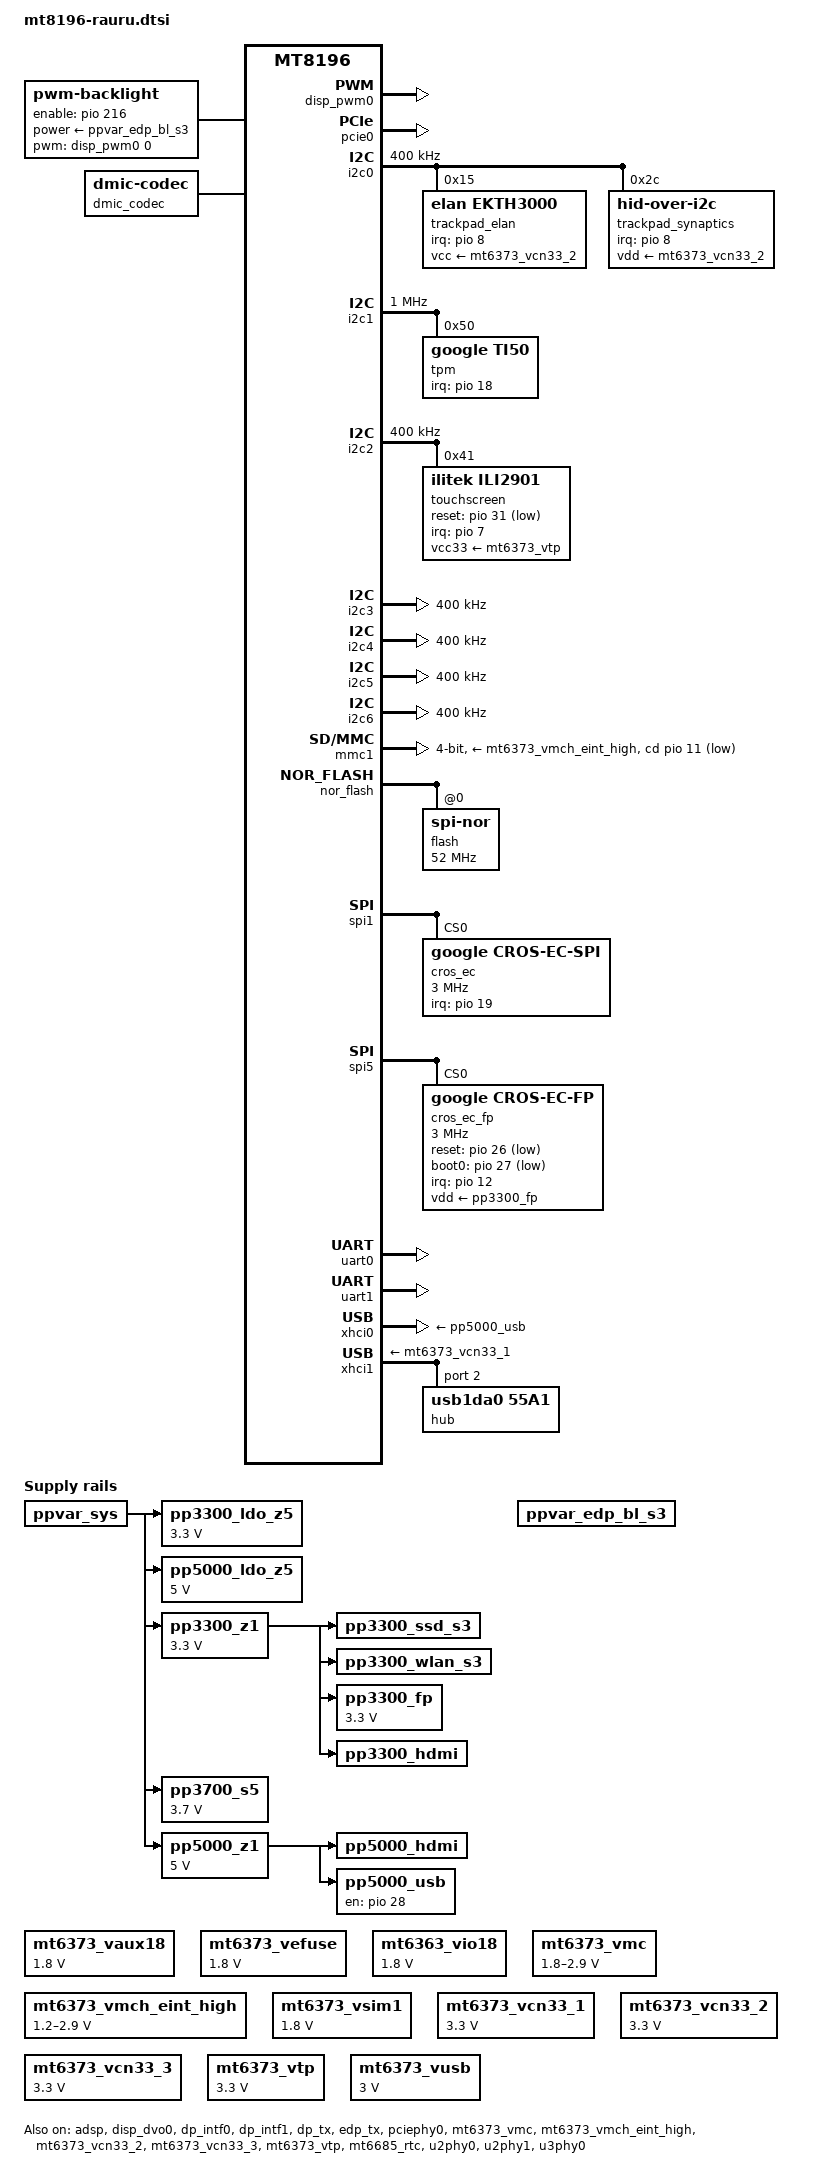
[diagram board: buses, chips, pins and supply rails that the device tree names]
// SPDX-License-Identifier: (GPL-2.0 OR MIT)
/*
 * Copyright (C) 2024 Google Inc.
 */
/dts-v1/;
#include "mt8196.dtsi"
#include "mt6316.dtsi"
#include "mt6363.dtsi"
#include "mt6373.dtsi"
#include "mt6685.dtsi"
#include <dt-bindings/pinctrl/mt8196-pinfunc.h>
#include <dt-bindings/gpio/gpio.h>
#include <dt-bindings/input/input.h>
#include <dt-bindings/input/gpio-keys.h>

/ {
	chosen: chosen {
		stdout-path = "serial0:115200n8";
	};

	backlight: backlight {
		compatible = "pwm-backlight";
		pinctrl-names = "default";
		pinctrl-0 = <&backlight_en_pin>;
		pwms = <&disp_pwm0 0 500000>;
		power-supply = <&ppvar_edp_bl_s3>;
		enable-gpios = <&pio 216 GPIO_ACTIVE_HIGH>;
		brightness-levels = <0 1023>;
		num-interpolated-steps = <1023>;
		default-brightness-level = <576>;
	};

	dmic_codec: dmic-codec {
		compatible = "dmic-codec";
		#sound-dai-cells = <0>;
		num-channels = <2>;
		wakeup-delay-ms = <100>;
	};

	/* system wide LDO 3.3V power rail */
	pp3300_ldo_z5: regulator-pp3300-ldo-z5 {
		compatible = "regulator-fixed";
		regulator-name = "pp3300_ldo_z5";
		regulator-always-on;
		regulator-boot-on;
		regulator-min-microvolt = <3300000>;
		regulator-max-microvolt = <3300000>;
		vin-supply = <&ppvar_sys>;
	};

	/* system wide LDO 5.0V power rail */
	pp5000_ldo_z5: regulator-pp5000-ldo-z5 {
		compatible = "regulator-fixed";
		regulator-name = "pp5000_ldo_z5";
		regulator-always-on;
		regulator-boot-on;
		regulator-min-microvolt = <5000000>;
		regulator-max-microvolt = <5000000>;
		vin-supply = <&ppvar_sys>;
	};

	/* separately switched 3.3V power rail */
	pp3300_ssd_s3: regulator-pp3300-ssd-s3 {
		compatible = "regulator-fixed";
		regulator-name = "pp3300_ssd_s3";
		/* automatically sequenced by PMIC EXT_PMIC_EN2_3V7 */
		regulator-always-on;
		regulator-boot-on;
		vin-supply = <&pp3300_z1>;
	};

	/* separately switched 3.3V power rail */
	pp3300_wlan_s3: regulator-pp3300-wlan-s3 {
		compatible = "regulator-fixed";
		regulator-name = "pp3300_wlan_s3";
		/* automatically sequenced by PMIC EXT_PMIC_EN2_3V7 */
		regulator-always-on;
		regulator-boot-on;
		vin-supply = <&pp3300_z1>;
	};

	/* separately switched 3.3V power rail */
	pp3300_fp: regulator-pp3300-fp {
		compatible = "regulator-fixed";
		regulator-name = "pp3300_fp";
		regulator-always-on;
		regulator-boot-on;
		regulator-min-microvolt = <3300000>;
		regulator-max-microvolt = <3300000>;
		pinctrl-names = "default";
		pinctrl-0 = <&fp_pwr_pin>;
		vin-supply = <&pp3300_z1>;
	};

	/* separately switched 3.3V power rail */
	pp3300_hdmi: regulator-pp3300-hdmi {
		compatible = "regulator-fixed";
		regulator-name = "pp3300_hdmi";
		/* EN_HDMI_PWR controlled by EC */
		regulator-always-on;
		regulator-boot-on;
		vin-supply = <&pp3300_z1>;
	};

	/* system wide 3.3V power rail */
	pp3300_z1: regulator-pp3300-z1 {
		compatible = "regulator-fixed";
		regulator-name = "pp3300_z1";
		/* controlled by EC */
		regulator-always-on;
		regulator-boot-on;
		regulator-min-microvolt = <3300000>;
		regulator-max-microvolt = <3300000>;
		vin-supply = <&ppvar_sys>;
	};

	/* system wide 3.7V power rail */
	pp3700_s5: regulator-pp3700-s5 {
		compatible = "regulator-fixed";
		regulator-name = "pp3700_s5";
		/* EN_PP3700_S5 controlled by EC */
		regulator-always-on;
		regulator-boot-on;
		regulator-min-microvolt = <3700000>;
		regulator-max-microvolt = <3700000>;
		vin-supply = <&ppvar_sys>;
	};

	/* system wide 5.0V power rail */
	pp5000_z1: regulator-pp5000-z1 {
		compatible = "regulator-fixed";
		regulator-name = "pp5000_z1";
		/* EN_PP5000_Z1 controlled by EC */
		regulator-always-on;
		regulator-boot-on;
		regulator-min-microvolt = <5000000>;
		regulator-max-microvolt = <5000000>;
		vin-supply = <&ppvar_sys>;
	};

	/* separately switched 5.0V power rail */
	pp5000_hdmi: regulator-pp5000-hdmi {
		compatible = "regulator-fixed";
		regulator-name = "pp5000_hdmi";
		/* EN_HDMI_PWR controlled by EC */
		regulator-always-on;
		regulator-boot-on;
		vin-supply = <&pp5000_z1>;
	};

	/* separately switched 5.0V power rail */
	pp5000_usb: regulator-pp5000-usb {
		compatible = "regulator-fixed";
		regulator-name = "pp5000_usb";
		regulator-always-on;
		regulator-boot-on;
		enable-active-high;
		gpio = <&pio 28 GPIO_ACTIVE_HIGH>;
		pinctrl-names = "default";
		pinctrl-0 = <&usb_init_done_pins>;
		vin-supply = <&pp5000_z1>;
	};

	/* system wide semi-regulated power rail from battery or USB */
	ppvar_edp_bl_s3:
	ppvar_sys: regulator-ppvar-sys {
		compatible = "regulator-fixed";
		regulator-name = "ppvar_sys";
		regulator-always-on;
		regulator-boot-on;
	};

	nau8318: speaker-codec {
		compatible = "nuvoton,nau8318";
		enable-gpios = <&pio 174 0>;/* EN_SPKR */
		beep-enable-gpios = <&pio 175 0>;/* BEEP_ON */
		#sound-dai-cells = <0>;

		status = "disabled";
	};

};

&adsp {
	memory-region = <&adsp_dma_mem_reserved>,
			<&adsp_mem_reserved>;
	pinctrl-names = "default";
	status = "okay";
};

&afe {
	memory-region = <&afe_dma_mem_reserved>;
	status = "disabled";
};

&cpu0 {
	proc-supply = <&mt6316_8_vbuck3>;
};

&cpu1 {
	proc-supply = <&mt6316_8_vbuck3>;
};

&cpu2 {
	proc-supply = <&mt6316_8_vbuck3>;
};

&cpu3 {
	proc-supply = <&mt6316_8_vbuck3>;
};

&cpu4 {
	proc-supply = <&mt6316_6_vbuck1>;
};

&cpu5 {
	proc-supply = <&mt6316_6_vbuck1>;
};

&cpu6 {
	proc-supply = <&mt6316_6_vbuck1>;
};

&cpu7 {
	proc-supply = <&mt6316_15_vbuck1>;
};

&disp_dvo0 {
	status = "okay";

	ports {
		port {
			disp_dvo0_out: endpoint {
				remote-endpoint = <&edp_in>;
			};
		};
	};
};

&disp_pwm0 {
	pinctrl-names = "default";
	pinctrl-0 = <&pwm_pin>;

	status = "okay";
};

&dp_intf0 {
	status = "okay";

	ports {
		#address-cells = <1>;
		#size-cells = <0>;

		port@0 {
			reg = <0>;
			disp1_dp_intf0_out: endpoint {
				remote-endpoint = <&dptx_in0>;
			};
		};
	};
};

&dp_intf1 {
	status = "okay";

	ports {
		#address-cells = <1>;
		#size-cells = <0>;

		port@0 {
			reg = <0>;
			disp1_dp_intf1_out: endpoint {
				remote-endpoint = <&dptx_in1>;
			};
		};
	};
};

&dp_tx {
	#sound-dai-cells = <0>;
	pinctrl-names = "default";
	pinctrl-0 = <&dp_hpd_pin>;
	direct-dp;

	status = "okay";

	ports {
		#address-cells = <1>;
		#size-cells = <0>;

		port@0 {
			reg = <0>;
			dptx_in0: endpoint {
				remote-endpoint = <&disp1_dp_intf0_out>;
			};
		};

		port@1 {
			reg = <1>;
			dptx_in1: endpoint {
				remote-endpoint = <&disp1_dp_intf1_out>;
			};
		};

		port@2 {
			reg = <2>;
			dptx_out: endpoint {
				data-lanes = <0 1 2 3>;
			};
		};
	};
};

&edp_tx {
	pinctrl-names = "default";
	pinctrl-0 = <&edp_hpd_pin>;

	status = "okay";

	ports {
		#address-cells = <1>;
		#size-cells = <0>;

		port@0 {
			reg = <0>;
			edp_in: endpoint {
				remote-endpoint = <&disp_dvo0_out>;
			};
		};

		port@1 {
			reg = <1>;
			edp_out: endpoint {
				data-lanes = <0 1 2 3>;
				remote-endpoint = <&edp_panel_in>;
			};
		};
	};

	aux-bus {
		panel: panel {
			compatible = "edp-panel";
			power-supply = <&mt6373_vcn33_3>;
			backlight = <&backlight>;

			status = "okay";

			port {
				edp_panel_in: endpoint {
					remote-endpoint = <&edp_out>;
				};
			};
		};
	};
};

&pcie0 {
	pinctrl-names = "default";
	pinctrl-0 = <&pcie0_pins>;
	status = "okay";
};

&pcie1 {
	pinctrl-names = "default";
	pinctrl-0 = <&pcie1_pins>;
	/* pcie1 for SSD is reserved but unused. */
	status = "disabled";
};

&pciephy0 {
	status = "okay";
};

&mt6373_vaux18 {
	regulator-name = "avss18_auxadc_mt6373";
	regulator-min-microvolt = <1800000>;
	regulator-max-microvolt = <1800000>;
};

&mt6373_vefuse {
	regulator-name = "pp1800_vefuse";
	regulator-min-microvolt = <1800000>;
	regulator-max-microvolt = <1800000>;
};

&mt6363_vio18 {
	regulator-name = "pp1800_vio18_s3";
	regulator-min-microvolt = <1800000>;
	regulator-max-microvolt = <1800000>;
};

&mt6373_vmc {
	regulator-name = "pp1800_2900_vmc";
	regulator-min-microvolt = <1800000>;
	regulator-max-microvolt = <2900000>;

	status = "okay";
};

&mt6373_vmch_eint_high {
	regulator-name = "pp2900_sd";
	/* TODO: Confirm with HW */
	regulator-min-microvolt = <1200000>;
	regulator-max-microvolt = <2900000>;

	status = "okay";
};

&mt6373_vsim1 {
	regulator-name = "pp1800_tchscr";
	regulator-min-microvolt = <1800000>;
	regulator-max-microvolt = <1800000>;
};

&mt6373_vcn33_1 {
	regulator-name = "pp3300_ucam";
	regulator-min-microvolt = <3300000>;
	regulator-max-microvolt = <3300000>;
};

&mt6373_vcn33_2 {
	regulator-name = "pp3300_tchpad";
	regulator-min-microvolt = <3300000>;
	regulator-max-microvolt = <3300000>;

	/* HACK: b/333996526 */
	regulator-always-on;

	status = "okay";
};

&mt6373_vcn33_3 {
	regulator-name = "pp3300_edp";
	regulator-min-microvolt = <3300000>;
	regulator-max-microvolt = <3300000>;

	regulator-always-on;

	status = "okay";
};

&mt6373_vtp {
	regulator-name = "pp3300_tchscr";
	regulator-min-microvolt = <3300000>;
	regulator-max-microvolt = <3300000>;

	status = "okay";
};

&mt6373_vusb {
	regulator-name = "pp3070_vusb";
	regulator-min-microvolt = <3000000>;
	regulator-max-microvolt = <3000000>;
};

/* trackpad */
&i2c0 {
	clock-frequency = <400000>;
	pinctrl-names = "default";
	pinctrl-0 = <&i2c0_pins &trackpad_int_pin>;

	status = "okay";

	/* elan trackpad */
	trackpad_elan: trackpad@15 {
		compatible = "elan,ekth3000";
		reg = <0x15>;
		interrupts-extended = <&pio 8 IRQ_TYPE_LEVEL_LOW>;
		vcc-supply = <&mt6373_vcn33_2>;
		wakeup-source;
	};

	/* synaptics trackpad */
	trackpad_synaptics: trackpad@2c  {
		compatible = "hid-over-i2c";
		reg = <0x2c>;
		interrupts-extended = <&pio 8 IRQ_TYPE_LEVEL_LOW>;
		hid-descr-addr = <0x20>;
		vdd-supply = <&mt6373_vcn33_2>;
		wakeup-source;
	};
};

/* tpm */
&i2c1 {
	clock-frequency = <1000000>;
	pinctrl-names = "default";
	pinctrl-0 = <&i2c1_pins>;

	status = "okay";

	tpm@50 {
		/* TODO: Upstream adding the "ti50" compatible */
		compatible = "google,ti50", "google,cr50";
		reg = <0x50>;
		interrupts-extended = <&pio 18 IRQ_TYPE_EDGE_RISING>;
		pinctrl-names = "default";
		pinctrl-0 = <&gsc_ap_int_pin>;
	};
};

/* touchscreen */
&i2c2 {
	clock-frequency = <400000>;
	pinctrl-names = "default";
	pinctrl-0 = <&i2c2_pins>;

	status = "okay";

	touchscreen: touchscreen@41 {
		compatible = "ilitek,ili2901";
		reg = <0x41>;
		interrupts-extended = <&pio 7 IRQ_TYPE_LEVEL_LOW>;
		pinctrl-names = "default";
		pinctrl-0 = <&touchscreen_pins>;
		reset-gpios = <&pio 31 GPIO_ACTIVE_LOW>;
		vcc33-supply = <&mt6373_vtp>;
	};
};

/* audio */
&i2c3 {
	clock-frequency = <400000>;
	pinctrl-names = "default";
	pinctrl-0 = <&i2c3_pins>;

	status = "okay";

	nau8825: audio-codec@1a {
		#sound-dai-cells = <0>;
		compatible = "nuvoton,nau8825";
		reg = <0x1a>;
		interrupts-extended = <&pio 10 IRQ_TYPE_LEVEL_LOW>;
		pinctrl-names = "default";
		pinctrl-0 = <&nau8825_pins>;

		nuvoton,jkdet-enable;
		nuvoton,jkdet-polarity = <1>;
		nuvoton,vref-impedance = <2>;
		nuvoton,micbias-voltage = <6>;
		nuvoton,sar-threshold-num = <4>;
		nuvoton,sar-threshold = <0xc 0x1e 0x38 0x60>;
		nuvoton,sar-hysteresis = <1>;
		nuvoton,sar-voltage = <0>;
		nuvoton,sar-compare-time = <0>;
		nuvoton,sar-sampling-time = <0>;
		nuvoton,short-key-debounce = <2>;
		nuvoton,jack-insert-debounce = <7>;
		nuvoton,jack-eject-debounce = <7>;
		nuvoton,adc-delay-ms = <300>;

		status = "disabled";
	};
};

/* sar */
&i2c4 {
	clock-frequency = <400000>;
	pinctrl-names = "default";
	pinctrl-0 = <&i2c4_pins>;

	status = "okay";
};

/* EC HID keyboard */
&i2c5 {
	clock-frequency = <400000>;
	pinctrl-names = "default";
	pinctrl-0 = <&i2c5_pins>;

	status = "okay";
};

/* eusb */
&i2c6 {
	clock-frequency = <400000>;
	pinctrl-names = "default";
	pinctrl-0 = <&i2c6_pins>;

	status = "okay";
};

&main_pmic {
	pmic-lvsys-notify {
		compatible = "mediatek,mt6363-lvsys-notify";
	};
};

&mmc1 {
	bus-width = <4>;
	cap-sd-highspeed;
	cd-gpios = <&pio 11 GPIO_ACTIVE_LOW>;
	max-frequency = <200000000>;
	no-mmc;
	no-sdio;
	pinctrl-names = "default", "state_uhs";
	pinctrl-0 = <&mmc1_pins>;
	pinctrl-1 = <&mmc1_pins>;
	sd-uhs-sdr12;
	sd-uhs-sdr25;
	sd-uhs-sdr50;
	sd-uhs-sdr104;
	sd-uhs-ddr50;
	vmmc-supply = <&mt6373_vmch_eint_high>;
	vqmmc-supply = <&mt6373_vmc>;
};

&mt6363_vbuck1 {
	regulator-always-on;
};

&mt6363_vbuck2 {
	regulator-always-on;
};

&mt6363_vbuck4 {
	regulator-always-on;
};

&mt6363_vbuck6 {
	regulator-always-on;
};

&mt6363_vsram_modem {
	regulator-always-on;
};

&mt6363_vsram_cpub {
	regulator-always-on;
};

&mt6363_vsram_cpul {
	regulator-always-on;
};

&mt6363_vsram_apu {
	regulator-always-on;
};

&mt6363_vemc {
	regulator-always-on;
};

&mt6363_vufs12 {
	regulator-always-on;
};

&mt6363_vufs18 {
	regulator-always-on;
};

&mt6363_vm18 {
	regulator-always-on;
};

&mt6373_vbuck0 {
	/delete-property/ regulator-always-on;
};

&mt6373_vbuck2 {
	regulator-always-on;
};

&mt6373_vbuck4 {
	regulator-always-on;
};

&mt6373_vbuck5 {
	regulator-always-on;
};

&mt6373_vbuck6 {
	regulator-always-on;
};

&mt6373_vbuck7 {
	regulator-always-on;
};

&mt6373_vbuck4_ufs {
	status = "disabled";
};

&mt6685_rtc {
	status = "okay";
};

&mt6363_vbuck1_sshub {
	status = "disabled";
};

&mt6363_vbuck2_sshub {
	status = "disabled";
};

&mt6363_vbuck4_sshub {
	status = "disabled";
};

&nor_flash {
	pinctrl-names = "default";
	pinctrl-0 = <&nor_pins>;

	status = "okay";

	flash@0 {
		compatible = "jedec,spi-nor";
		reg = <0>;
		spi-max-frequency = <52000000>;
		spi-rx-bus-width = <2>;
		spi-tx-bus-width = <2>;
	};
};

&pio {
	/* pinctrl settings for pins that have no real owners. */
	pinctrl-names = "default";
	pinctrl-0 = <&ap_flash_wp_pin>;

	/* 271 lines */
	gpio-line-names =
		"STRAP_EINT0",			/* 0 */
		"PD_AP_INT_ODL",
		"STRAP_EINT2",
		/*
		 * AP_FLASH_WP_L is crossystem ABI. Schematics
		 * call it AP_WP_ODL.
		 */
		"AP_FLASH_WP_L",
		"ALS_INT_SCP_ODL",
		"LID_ACCEL_INT_SCP_L",
		"IMU_INT_SCP_L",
		"TCHSCR_INT_1V8_ODL",
		"TCHPAD_INT_ODL",
		"SPKR_INT_ODL",
		"HP_INT_ODL",			/* 10 */
		"SD_CD_AP_ODL",
		"FP_AP_INT_1V8_S3_ODL",
		"EDP_HPD_1V8",
		"SAR_INT_ODL",
		"",
		"STRAP_EINT16",
		"STRAP_EINT17",
		"GSC_AP_INT_ODL",
		"EC_AP_INT_ODL",
		"EC_AP_HID_INT_ODL",		/* 20 */
		"",
		"",
		"",
		"",
		"",
		"FP_RST_1V8_S3_L",
		"AP_FP_FW_UP_STRAP",
		"AP_XHCI_INIT_DONE",
		"AP_EC_WARM_RST_REQ",
		"TCHSCR_REPORT_DISABLE",	/* 30 */
		"TCHSCR_RST_1V8_L",
		"EC_AP_DP_HPD_OD",
		"IO_JTAG_TRST_L",
		"IO_JTAG_TDI",
		"IO_JTAG_TDO",
		"IO_JTAG_TMS",
		"",
		"",
		"I2S_HP_MCK",
		"I2S_HP_BCK",			/* 40 */
		"I2S_HP_LRCK",
		"I2S_HP_DI",
		"I2S_HP_DO",
		"",
		"",
		"",
		"",
		"",
		"",
		"",				/* 50 */
		"",
		"",
		"",
		"",
		"",
		"STRAP_AUD_DAT_MOSI0",
		"STRAP_AUD_DAT_MOSI1",
		"",
		"",
		"AP_KPCOL0",			/* 60 */
		"CPUM_PMIC_POC",
		"CPUB_PMIC_POC",
		"GPU_PMIC_POC",
		"",
		"",
		"AP_PMIC_WDTRST_L",
		"SRCLKENA0",
		"STRAP_SCP_VREQ_VAO",
		"SOC_RTC32K_1V8",
		"STRAP_FL_STROBE_EN",		/* 70 */
		"",
		"USB_EN",
		"STRAP_LVSYS_INT",
		"STRAP_FPM_IND",
		"SPMI_M_SCL",
		"SPMI_M_SDA",
		"SPMI_P_SCL",
		"SPMI_P_SDA",
		"",
		"",				/* 80 */
		"",
		"",
		"",
		"",
		"",
		"",
		"",
		"",
		"",
		"",				/* 90 */
		"SPI_AP_DO_BIOS_DI",
		"SPI_AP_DI_BIOS_DO",
		"",
		"I2S_SPKR_MCK",
		"I2S_SPKR_BCK",
		"I2S_SPKR_LRCK",
		"I2S_SPKR_DI",
		"I2S_SPKR_DO",
		"AP_I2C_TCHPAD_SCL_1V8",
		"AP_I2C_TCHPAD_SDA_1V8",	/* 100 */
		"SPI_AP_CS_BIOS_L",
		"SPI_AP_CLK_BIOS",
		"BL_PWM_1V8",
		"AP_I2C_EUSB_SCL_1V8",
		"AP_I2C_EUSB_SDA_1V8",
		"",
		"",
		"",
		"",
		"SPI_AP_CLK_EC",		/* 110 */
		"SPI_AP_CS_EC_L",
		"SPI_AP_DO_EC_DI",
		"SPI_AP_DI_EC_DO",
		"",
		"",
		"",
		"",
		"SPI_AP_CLK_FP_1V8",
		"SPI_AP_CS_FP_1V8_L",
		"SPI_AP_DO_FP_DI_1V8",		/* 120 */
		"SPI_AP_DI_FP_DO_1V8",
		"",
		"AP_I2C_AUD_SCL_1V8",
		"AP_I2C_AUD_SDA_1V8",
		"SD_CLK",
		"SD_CMD",
		"SD_DATA0",
		"SD_DATA1",
		"SD_DATA2",
		"SD_DATA3",			/* 130 */
		"",
		"",
		"",
		"",
		"",
		"",
		"",
		"",
		"",
		"",				/* 140 */
		"",
		"",
		"",
		"",
		"PCIE_SSD_WAKE_OBFF_1V8_ODL",
		"PCIE_SSD_RST_1V8_L",
		"PCIE_SSD_CLKREQ_1V8_ODL",
		"WWAN_SAR_DETECT_L",
		"WWAN_RESET_L",
		"WWAN_W_DISABLE_L",		/* 150 */
		"WWAN_PWR_OFF_L",
		"",
		"",
		"",
		"",
		"",
		"UART_AP_TX_FP_RX_1V8",
		"UART_FP_TX_AP_RX_1V8",
		"",
		"UART_AP_TX_GSC_DBG_RX",	/* 160 */
		"UART_GSC_DBG_TX_AP_RX",
		"UART_IO_TX_DBGCON_RX",
		"UART_DBGCON_TX_IO_RX",
		"SCP_I2C_SENSOR_SCL_1V8",
		"SCP_I2C_SENSOR_SDA_1V8",
		"",
		"",
		"SPI_AP_CLK_TCHSCR",
		"SPI_AP_CS_TCHSCR_L",
		"SPI_AP_DO_TCHSCR_DI",		/* 170 */
		"SPI_AP_DI_TCHSCR_DO",
		"EN_PP3300_EDP_X",
		"EN_PWR_FP",
		"EN_SPKR",
		"BEEP_ON",
		"AP_I2C_EC_HID_KB_SCL_1V8",
		"AP_I2C_EC_HID_KB_SDA_1V8",
		"DMIC0_CLK",
		"DMIC0_DATA",
		"",				/* 180 */
		"",
		"",
		"",
		"",
		"",
		"",
		"",
		"AP_I2C_TCHSCR_SCL_1V8",
		"AP_I2C_TCHSCR_SDA_1V8",
		"AP_I2C_SAR_SCL_1V8",		/* 190 */
		"AP_I2C_SAR_SDA_1V8",
		"",
		"",
		"AP_I2C_PD_SCL_1V8",
		"AP_I2C_PD_SDA_1V8",
		"",
		"",
		"",
		"",
		"AP_I2C_TPM_SCL_1V8",		/* 200 */
		"AP_I2C_TPM_SDA_1V8",
		"",
		"",
		"",
		"",
		"",
		"",
		"",
		"",
		"",				/* 210 */
		"",
		"",
		"",
		"",
		"",
		"EDP_BL_EN_1V8",
		"",
		"",
		"AP_JTAG_TRST_L",
		"AP_JTAG_TCK",			/* 220 */
		"AP_JTAG_TMS",
		"AP_JTAG_TDO",
		"AP_JTAG_TDI",
		"",
		"",
		"",
		"",
		"",
		"",
		"",				/* 230 */
		"",
		"",
		"",
		"",
		"",
		"",
		"",
		"",
		"",
		"",				/* 240 */
		"PCIE_WLAN_RST_1V2_L",
		"PCIE_WLAN_WAKE_OBFF_1V2_ODL",
		"PCIE_WLAN_CLKREQ_1V2_ODL",
		"",
		"",
		"",
		"",
		"BT_KILL_1V2_L",
		"WIFI_KILL_1V2_L",
		"",				/* 250 */
		"",
		"",
		"",
		"",
		"",
		"",
		"",
		"",
		"",
		"",				/* 260 */
		"",
		"",
		"",
		"",
		"",
		"",
		"",
		"",
		"",
		"";				/* 270 */

	ap_flash_wp_pin: ap-flash-wp-pins {
		pins-bus {
			pinmux = <PINMUX_GPIO3__FUNC_GPIO3>;
			bias-disable;
		};
	};

	backlight_en_pin: backlight-en-pins {
		pins-enable {
			pinmux = <PINMUX_GPIO216__FUNC_GPIO216>;
		};
	};

	dp_hpd_pin: dp-hpd-pins {
		pins-hpd {
			pinmux = <PINMUX_GPIO32__FUNC_DP_TX_HPD>;
		};
	};

	ec_int_pin: ec-int-pins {
		pins-ec-int {
			pinmux = <PINMUX_GPIO19__FUNC_GPIO19>;
			input-enable;
		};
	};

	edp_hpd_pin: edp-hpd-pins {
		pins-edp-hpd {
			pinmux = <PINMUX_GPIO13__FUNC_EDP_TX_HPD>;
			/* TODO: check this. EVB is using bias-pull-up. */
			//bias-disable;
			bias-pull-up;
		};
	};

	fp_pwr_pin: fp-pwr-pins {
		pins-enable {
			pinmux = <PINMUX_GPIO173__FUNC_GPIO173>;
			bias-pull-up;
		};
	};

	fp_pin: fp-pins {
		pins-enable {
			pinmux = <PINMUX_GPIO12__FUNC_GPIO12>;
			input-enable;
		};
	};

	fp_rst_pin: fp-rst-pins {
		pins-reset {
			pinmux = <PINMUX_GPIO26__FUNC_GPIO26>;
			bias-disable;
		};
	};

	fp_fw_up_pin: fp-fw-up-pins {
		pins-bootstrap {
			pinmux = <PINMUX_GPIO27__FUNC_GPIO27>;
			bias-disable;
		};
	};

	gsc_ap_int_pin: gsc-ap-int-pins {
		pins-int {
			pinmux = <PINMUX_GPIO18__FUNC_GPIO18>;
			input-enable;
		};
	};

	i2c0_pins: i2c0-pins {
		pins-bus {
			pinmux = <PINMUX_GPIO100__FUNC_SDA0>,
				 <PINMUX_GPIO99__FUNC_SCL0>;
			bias-disable;
			drive-strength = <4>;
		};
	};

	i2c1_pins: i2c1-pins {
		pins-bus {
			pinmux = <PINMUX_GPIO201__FUNC_SDA1>,
				 <PINMUX_GPIO200__FUNC_SCL1>;
			bias-disable;
			drive-strength = <4>;
		};
	};

	i2c2_pins: i2c2-pins {
		pins-bus {
			pinmux = <PINMUX_GPIO189__FUNC_SDA2>,
				 <PINMUX_GPIO188__FUNC_SCL2>;
			bias-disable;
			drive-strength = <4>;
		};
	};

	i2c3_pins: i2c3-pins {
		pins-bus {
			pinmux = <PINMUX_GPIO124__FUNC_SDA3>,
				 <PINMUX_GPIO123__FUNC_SCL3>;
			bias-disable;
			drive-strength = <4>;
		};
	};

	i2c4_pins: i2c4-pins {
		pins-bus {
			pinmux = <PINMUX_GPIO191__FUNC_SDA4>,
				 <PINMUX_GPIO190__FUNC_SCL4>;
			bias-disable;
			drive-strength = <4>;
		};
	};

	i2c5_pins: i2c5-pins {
		pins-bus {
			pinmux = <PINMUX_GPIO177__FUNC_SDA5>,
				 <PINMUX_GPIO176__FUNC_SCL5>;
			bias-disable;
			drive-strength = <4>;
		};
	};

	i2c6_pins: i2c6-pins {
		pins-bus {
			pinmux = <PINMUX_GPIO105__FUNC_SDA6>,
				 <PINMUX_GPIO104__FUNC_SCL6>;
			bias-disable;
			drive-strength = <4>;
		};
	};

	i2c7_pins: i2c7-pins {
		pins-bus {
			pinmux = <PINMUX_GPIO195__FUNC_SDA7>,
				 <PINMUX_GPIO194__FUNC_SCL7>;
			bias-disable;
			drive-strength = <4>;
		};
	};

	mmc1_pins: mmc1-pins {
		pins-bus {
			pinmux = <PINMUX_GPIO126__FUNC_MSDC1_CMD>,
				 <PINMUX_GPIO127__FUNC_MSDC1_DAT0>,
				 <PINMUX_GPIO128__FUNC_MSDC1_DAT1>,
				 <PINMUX_GPIO129__FUNC_MSDC1_DAT2>,
				 <PINMUX_GPIO130__FUNC_MSDC1_DAT3>;
			input-enable;
			drive-strength = <6>;
			bias-pull-up = <MTK_PUPD_SET_R1R0_01>;
		};

		pins-clk {
			pinmux = <PINMUX_GPIO125__FUNC_MSDC1_CLK>;
			drive-strength = <6>;
			bias-pull-down = <MTK_PUPD_SET_R1R0_10>;
		};

		pins-insert {
			pinmux = <PINMUX_GPIO11__FUNC_GPIO11>;
			bias-pull-none; /* Has external pullup */
		};
	};

	nau8825_pins: nau8825-pins {
		pins-int {
			pinmux = <PINMUX_GPIO10__FUNC_GPIO10>;
			input-enable;
			bias-pull-up;
		};
	};

	nor_pins: nor-pins {
		pins-ck {
			pinmux = <PINMUX_GPIO102__FUNC_SF_CK>;
			bias-pull-down = <MTK_PULL_SET_RSEL_000>;
			mediatek,rsel = <7>;
			drive-strength = <14>;
		};

		pins-cs {
			pinmux = <PINMUX_GPIO101__FUNC_SF_CS>;
			bias-pull-up = <MTK_PULL_SET_RSEL_000>;
			mediatek,rsel = <7>;
			drive-strength = <14>;
		};

		pins-io {
			pinmux = <PINMUX_GPIO91__FUNC_SF_D0>,
				 <PINMUX_GPIO92__FUNC_SF_D1>;
			bias-pull-down;
			drive-strength = <14>;
		};
	};

	pcie0_pins: pcie0-pins {
		pins-bus {
			pinmux = <PINMUX_GPIO241__FUNC_PCIE_PERSTN>,
				 <PINMUX_GPIO242__FUNC_PCIE_WAKEN>,
				 <PINMUX_GPIO243__FUNC_PCIE_CLKREQN>;
			bias-pull-up;
		};

		wifi-kill {
			pinmux = <PINMUX_GPIO249__FUNC_GPIO249>;
			output-high;
		};
	};

	pcie1_pins: pcie1-pins {
		pins-bus {
			pinmux = <PINMUX_GPIO145__FUNC_PCIE_WAKEN_1P>,
				 <PINMUX_GPIO146__FUNC_PCIE_PERSTN_1P>,
				 <PINMUX_GPIO147__FUNC_PCIE_CLKREQN_1P>;
			bias-pull-up = <MTK_PUPD_SET_R1R0_01>;
		};
	};

	pwm_pin: pwm-pins {
		pins-pwm {
			pinmux = <PINMUX_GPIO103__FUNC_DISP_PWM>;
		};
	};

	spi1_pins: spi1-pins {
		pins-bus {
			pinmux = <PINMUX_GPIO110__FUNC_SPI1_CLK>,
				 <PINMUX_GPIO111__FUNC_SPI1_CSB>,
				 <PINMUX_GPIO112__FUNC_SPI1_MO>,
				 <PINMUX_GPIO113__FUNC_SPI1_MI>;
			bias-disable;
		};
	};

	spi5_pins: spi5-pins {
		pins-bus {
			pinmux = <PINMUX_GPIO118__FUNC_SPI5_CLK>,
				 <PINMUX_GPIO119__FUNC_SPI5_CSB>,
				 <PINMUX_GPIO120__FUNC_SPI5_MO>;
			bias-disable;
		};

		pins-spi-mi {
			pinmux = <PINMUX_GPIO121__FUNC_SPI5_MI>;
			bias-pull-down;
		};
	};

	trackpad_int_pin: trackpad-int-pins {
		pins-int {
			pinmux = <PINMUX_GPIO8__FUNC_GPIO8>;
			bias-disable; /* Has external pullup */
		};
	};

	touchscreen_pins: touchscreen-pins {
		pins-int {
			pinmux = <PINMUX_GPIO7__FUNC_GPIO7>;
			bias-disable; /* Has external pullup */
		};

		pins-reset {
			pinmux = <PINMUX_GPIO31__FUNC_GPIO31>;
			drive-strength = <2>;
		};
	};

	usb_init_done_pins: usb-init-done-pins {
		pins-enable {
			pinmux = <PINMUX_GPIO28__FUNC_GPIO28>;
			bias-pull-up;
		};

		bt-kill {
			pinmux = <PINMUX_GPIO248__FUNC_GPIO248>;
			output-high;
		};
	};
};

&spi1 {
	pinctrl-names = "default";
	pinctrl-0 = <&spi1_pins>;
	mediatek,pad-select = <0>;

	status = "okay";

	cros_ec: ec@0 {
		compatible = "google,cros-ec-spi";
		reg = <0>;
		interrupts-extended = <&pio 19 IRQ_TYPE_LEVEL_LOW>;
		pinctrl-names = "default";
		pinctrl-0 = <&ec_int_pin>;
		spi-max-frequency = <3000000>;
		#thermal-sensor-cells = <1>;
		#cooling-cells = <2>;

		i2c_tunnel: i2c-tunnel {
			compatible = "google,cros-ec-i2c-tunnel";
			google,remote-bus = <1>;
			#address-cells = <1>;
			#size-cells = <0>;
		};

		cros_ec_typec: typec {
			compatible = "google,cros-ec-typec";
			#address-cells = <1>;
			#size-cells = <0>;

			usb_c0: connector@0 {
				compatible = "usb-c-connector";
				reg = <0>;
				label = "left";
				power-role = "dual";
				data-role = "host";
				try-power-role = "source";
			};

			usb_c1: connector@1 {
				compatible = "usb-c-connector";
				reg = <1>;
				label = "right";
				power-role = "dual";
				data-role = "host";
				try-power-role = "source";
			};
		};
	};
};

spi_ap_fp: &spi5 {
	pinctrl-names = "default";
	pinctrl-0 = <&spi5_pins>;
	mediatek,pad-select = <0>;

	status = "okay";

	cros_ec_fp: ec@0 {
		compatible = "google,cros-ec-fp", "google,cros-ec-spi";
		reg = <0>;
		interrupts-extended = <&pio 12 IRQ_TYPE_LEVEL_LOW>;
		pinctrl-names = "default";
		pinctrl-0 = <&fp_pin>, <&fp_rst_pin>, <&fp_fw_up_pin>;
		reset-gpios = <&pio 26 GPIO_ACTIVE_LOW>;
		boot0-gpios = <&pio 27 GPIO_ACTIVE_LOW>;
		spi-max-frequency = <3000000>;
		spi-cs-setup-delay-ns = <10>;
		vdd-supply = <&pp3300_fp>;
	};
};

&uart0 {
	status = "okay";
};

&uart1 {
	status = "okay";
};

&u2phy0 {
	status = "okay";
};

&u2phy1 {
	status = "okay";
};

&u3phy0 {
	status = "okay";
};

&xhci0 {
	vbus-supply = <&pp5000_usb>;
	usb2-lpm-disable;

	status = "okay";
};

&xhci1 {
	vbus-supply = <&mt6373_vcn33_1>;
	usb2-lpm-disable;

	status = "okay";
	hub@2 {
		compatible = "usb1da0,55a1";
		reg = <2>;

		bluetooth@5 {
				compatible = "usb0489,e111";
				reg = <5>;
				reset-gpios = <&pio 248 GPIO_ACTIVE_LOW>;
		};
	};
};

#include <arm/cros-ec-keyboard.dtsi>
#include <arm/cros-ec-sbs.dtsi>
